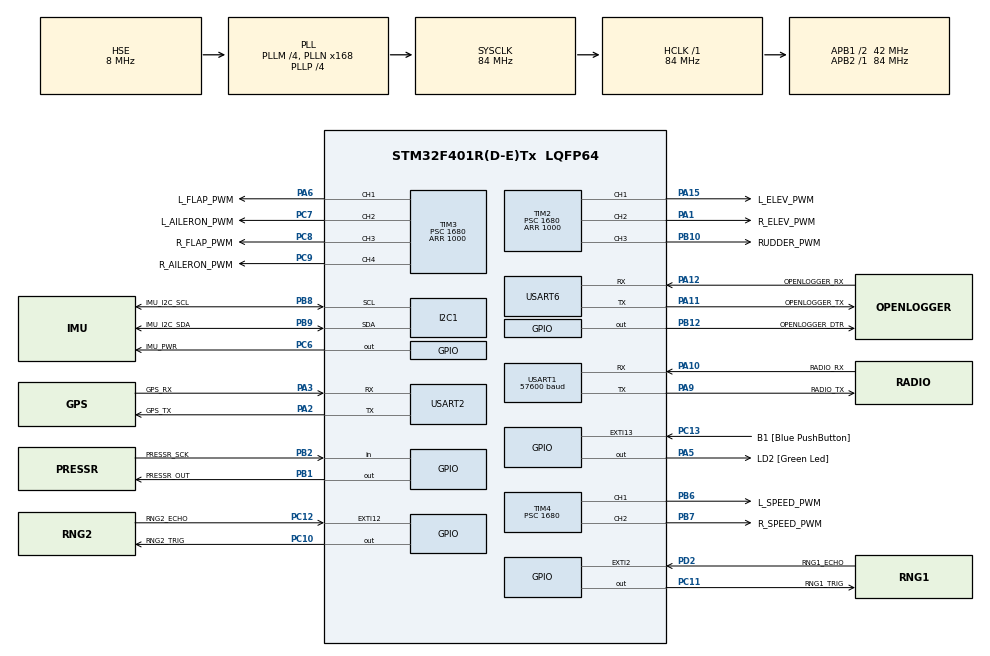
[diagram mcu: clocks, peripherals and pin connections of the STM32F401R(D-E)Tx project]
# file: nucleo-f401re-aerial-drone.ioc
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ARM.CMSIS.5.7.0.CMSISJjCORE=true
ARM.CMSIS.5.7.0.CMSISJjDSP=Library
FREERTOS.Queues01=actCmds,16,actuator_t,0,Dynamic,NULL,NULL;pressrToLog,16,sens_pressr_t,0,Dynamic,NULL,NULL;pressrToSend,16,sens_pressr_t,0,Dynamic,NULL,NULL;rng1ToLog,16,sens_rng_t,0,Dynamic,NULL,NULL;rng1ToSend,16,sens_rng_t,0,Dynamic,NULL,NULL;rng2ToLog,16,sens_rng_t,0,Dynamic,NULL,NULL;rng2ToSend,16,sens_rng_t,0,Dynamic,NULL,NULL;actCmdsToLog,16,actuator_t,0,Dynamic,NULL,NULL;imuToLog,16,sens_imu_t,0,Dynamic,NULL,NULL;imuToSend,16,sens_imu_t,0,Dynamic,NULL,NULL
FREERTOS.Tasks01=blink,8,128,StartBlink,Default,NULL,Dynamic,NULL,NULL;readPressrSens,24,512,ReadPressureSensor,As weak,NULL,Dynamic,NULL,NULL;writeLogger,24,512,WriteLogger,As weak,NULL,Dynamic,NULL,NULL;radioManager,40,512,RadioManager,As weak,NULL,Dynamic,NULL,NULL;readMag,24,512,ReadMag,As weak,NULL,Dynamic,NULL,NULL;readInertial,24,512,ReadInertial,As weak,NULL,Dynamic,NULL,NULL;readRngs,24,512,ReadRngs,As weak,NULL,Dynamic,NULL,NULL;cntrlActuators,32,512,ControlActuators,As weak,NULL,Dynamic,NULL,NULL
FREERTOS.configCHECK_FOR_STACK_OVERFLOW=0
FREERTOS.configENABLE_FPU=1
FREERTOS.configTOTAL_HEAP_SIZE=19600
FREERTOS.configUSE_NEWLIB_REENTRANT=1
Mcu.Family=STM32F4
Mcu.Name=STM32F401R(D-E)Tx
Mcu.Package=LQFP64
NVIC.EXTI15_10_IRQn=true\:5\:0\:false\:false\:true\:true\:true\:true\:true
NVIC.EXTI2_IRQn=true\:5\:0\:false\:false\:true\:true\:true\:true\:true
NVIC.PriorityGroup=NVIC_PRIORITYGROUP_4
NVIC.TIM1_UP_TIM10_IRQn=true\:15\:0\:false\:false\:true\:false\:false\:true\:true
NVIC.TimeBase=TIM1_UP_TIM10_IRQn
NVIC.TimeBaseIP=TIM1
NVIC.USART1_IRQn=true\:5\:0\:false\:false\:true\:true\:true\:true\:true
PA1.GPIO_Label=R_ELEV_PWM
PA1.Signal=S_TIM2_CH2
PA10.GPIO_Label=RADIO_RX
PA10.Mode=Asynchronous
PA10.Signal=USART1_RX
PA11.GPIO_Label=OPENLOGGER_TX
PA11.Mode=Asynchronous
PA11.Signal=USART6_TX
PA12.GPIO_Label=OPENLOGGER_RX
PA12.Mode=Asynchronous
PA12.Signal=USART6_RX
PA13.GPIO_Label=TMS
PA13.Mode=Serial_Wire
PA13.Signal=SYS_JTMS-SWDIO
PA14.GPIO_Label=TCK
PA14.Mode=Serial_Wire
PA14.Signal=SYS_JTCK-SWCLK
PA15.GPIO_Label=L_ELEV_PWM
PA15.Signal=S_TIM2_CH1_ETR
PA2.GPIO_Label=GPS_TX
PA2.Mode=Asynchronous
PA2.Signal=USART2_TX
PA3.GPIO_Label=GPS_RX
PA3.Mode=Asynchronous
PA3.Signal=USART2_RX
PA5.GPIO_Label=LD2 [Green Led]
PA5.GPIO_Mode=GPIO_MODE_OUTPUT_PP
PA5.GPIO_PuPd=GPIO_NOPULL
PA5.GPIO_Speed=GPIO_SPEED_FREQ_LOW
PA5.Signal=GPIO_Output
PA6.GPIO_Label=L_FLAP_PWM
PA6.Signal=S_TIM3_CH1
PA9.GPIO_Label=RADIO_TX
PA9.Mode=Asynchronous
PA9.Signal=USART1_TX
PB1.GPIO_Label=PRESSR_OUT
PB1.Signal=GPIO_Output
PB10.GPIO_Label=RUDDER_PWM
PB10.Signal=S_TIM2_CH3
PB12.GPIO_Label=OPENLOGGER_DTR
PB12.Signal=GPIO_Output
PB2.GPIO_Label=PRESSR_SCK
PB2.Signal=GPIO_Input
PB3.Signal=SYS_JTDO-SWO
PB6.GPIO_Label=L_SPEED_PWM
PB6.Signal=S_TIM4_CH1
PB7.GPIO_Label=R_SPEED_PWM
PB7.Signal=S_TIM4_CH2
PB8.GPIO_Label=IMU_I2C_SCL
PB8.Mode=I2C
PB8.Signal=I2C1_SCL
PB9.GPIO_Label=IMU_I2C_SDA
PB9.Mode=I2C
PB9.Signal=I2C1_SDA
PC10.GPIO_Label=RNG2_TRIG
PC10.GPIO_Speed=GPIO_SPEED_FREQ_VERY_HIGH
PC10.Signal=GPIO_Output
PC11.GPIO_Label=RNG1_TRIG
PC11.GPIO_Speed=GPIO_SPEED_FREQ_VERY_HIGH
PC11.Signal=GPIO_Output
PC12.GPIO_Label=RNG2_ECHO
PC12.GPIO_ModeDefaultEXTI=GPIO_MODE_IT_RISING_FALLING
PC12.Signal=GPXTI12
PC13-ANTI_TAMP.GPIO_Label=B1 [Blue PushButton]
PC13-ANTI_TAMP.GPIO_ModeDefaultEXTI=GPIO_MODE_IT_FALLING
PC13-ANTI_TAMP.GPIO_PuPd=GPIO_NOPULL
PC13-ANTI_TAMP.Signal=GPXTI13
PC14-OSC32_IN.Mode=LSE-External-Oscillator
PC14-OSC32_IN.Signal=RCC_OSC32_IN
PC15-OSC32_OUT.Mode=LSE-External-Oscillator
PC15-OSC32_OUT.Signal=RCC_OSC32_OUT
PC6.GPIO_Label=IMU_PWR
PC6.Signal=GPIO_Output
PC7.GPIO_Label=L_AILERON_PWM
PC7.Signal=S_TIM3_CH2
PC8.GPIO_Label=R_FLAP_PWM
PC8.Signal=S_TIM3_CH3
PC9.GPIO_Label=R_AILERON_PWM
PC9.Signal=S_TIM3_CH4
PD2.GPIO_Label=RNG1_ECHO
PD2.GPIO_ModeDefaultEXTI=GPIO_MODE_IT_RISING_FALLING
PD2.Signal=GPXTI2
PH0\ -\ OSC_IN.Mode=HSE-External-Clock-Source
PH0\ -\ OSC_IN.Signal=RCC_OSC_IN
PH1\ -\ OSC_OUT.Mode=HSE-External-Clock-Source
PH1\ -\ OSC_OUT.Signal=RCC_OSC_OUT
ProjectManager.HeapSize=0x200
ProjectManager.StackSize=0x400
ProjectManager.TargetToolchain=STM32CubeIDE
RCC.48MHZClocksFreq_Value=48000000
RCC.AHBFreq_Value=84000000
RCC.APB1CLKDivider=RCC_HCLK_DIV2
RCC.APB1Freq_Value=42000000
RCC.APB1TimFreq_Value=84000000
RCC.APB2Freq_Value=84000000
RCC.APB2TimFreq_Value=84000000
RCC.CortexFreq_Value=84000000
RCC.HCLKFreq_Value=84000000
RCC.HSE_VALUE=8000000
RCC.HSI_VALUE=16000000
RCC.PLLM=4
RCC.PLLN=168
RCC.PLLP=RCC_PLLP_DIV4
RCC.PLLQ=7
RCC.PLLSourceVirtual=RCC_PLLSOURCE_HSE
RCC.SYSCLKFreq_VALUE=84000000
RCC.SYSCLKSource=RCC_SYSCLKSOURCE_PLLCLK
RCC.VCOOutputFreq_Value=336000000
SH.S_TIM2_CH1_ETR.0=TIM2_CH1,PWM Generation1 CH1
SH.S_TIM2_CH2.0=TIM2_CH2,PWM Generation2 CH2
SH.S_TIM2_CH3.0=TIM2_CH3,PWM Generation3 CH3
SH.S_TIM3_CH1.0=TIM3_CH1,PWM Generation1 CH1
SH.S_TIM3_CH2.0=TIM3_CH2,PWM Generation2 CH2
SH.S_TIM3_CH3.0=TIM3_CH3,PWM Generation3 CH3
SH.S_TIM3_CH4.0=TIM3_CH4,PWM Generation4 CH4
SH.S_TIM4_CH1.0=TIM4_CH1,PWM Generation1 CH1
SH.S_TIM4_CH2.0=TIM4_CH2,PWM Generation2 CH2
TIM10.ClockDivision=TIM_CLOCKDIVISION_DIV1
TIM10.Prescaler=84-1
TIM11.Prescaler=84-1
TIM2.Channel-PWM\ Generation1\ CH1=TIM_CHANNEL_1
TIM2.Channel-PWM\ Generation2\ CH2=TIM_CHANNEL_2
TIM2.Channel-PWM\ Generation3\ CH3=TIM_CHANNEL_3
TIM2.Period=1000
TIM2.Prescaler=1680
TIM3.Channel-PWM\ Generation1\ CH1=TIM_CHANNEL_1
TIM3.Channel-PWM\ Generation2\ CH2=TIM_CHANNEL_2
TIM3.Channel-PWM\ Generation3\ CH3=TIM_CHANNEL_3
TIM3.Channel-PWM\ Generation4\ CH4=TIM_CHANNEL_4
TIM3.ClockDivision=TIM_CLOCKDIVISION_DIV1
TIM3.Period=1000
TIM3.Prescaler=1680
TIM4.Channel-PWM\ Generation1\ CH1=TIM_CHANNEL_1
TIM4.Channel-PWM\ Generation2\ CH2=TIM_CHANNEL_2
TIM4.ClockDivision=TIM_CLOCKDIVISION_DIV1
TIM4.Period=1000
TIM4.Prescaler=1680
TIM9.Prescaler=84-1
USART1.BaudRate=57600
USART1.VirtualMode=VM_ASYNC
USART2.VirtualMode=VM_ASYNC
USART6.VirtualMode=VM_ASYNC
VP_ARM.CMSIS_VS_CMSISJjCORE_5.4.0_5.7.0.Mode=CMSISJjCORE
VP_ARM.CMSIS_VS_CMSISJjDSP_1.8.0_5.7.0.Mode=CMSISJjDSP
VP_FREERTOS_VS_CMSIS_V2.Mode=CMSIS_V2
VP_SYS_VS_tim1.Mode=TIM1
VP_TIM10_VS_ClockSourceINT.Mode=Enable_Timer
VP_TIM11_VS_ClockSourceINT.Mode=Enable_Timer
VP_TIM2_VS_ClockSourceINT.Mode=Internal
VP_TIM3_VS_ClockSourceINT.Mode=Internal
VP_TIM4_VS_ClockSourceINT.Mode=Internal
VP_TIM9_VS_ClockSourceINT.Mode=Internal
board=NUCLEO-F401RE

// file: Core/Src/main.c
/* USER CODE BEGIN Header */
/**
  ******************************************************************************
  * @file           : main.c
  * @brief          : Main program body
  ******************************************************************************
  * @attention
  *
  * Copyright (c) 2023 STMicroelectronics.
  * All rights reserved.
  *
  * This software is licensed under terms that can be found in the LICENSE file
  * in the root directory of this software component.
  * If no LICENSE file comes with this software, it is provided AS-IS.
  *
  ******************************************************************************
  */
/* USER CODE END Header */
#include "main.h"
#include "cmsis_os.h"
#include "i2c.h"
#include "tim.h"
#include "usart.h"
#include "gpio.h"

/* USER CODE BEGIN Includes */
#include "printf/printf.h"
/* USER CODE END Includes */

void SystemClock_Config(void);
void MX_FREERTOS_Init(void);
/* USER CODE BEGIN PFP */

//int _write(int file, char *ptr, int len){
//    osKernelLock();
//	// Overrides _write so all printf commands are sent to the ITM debugging interface
//	int i = 0;
//	for (i=0; i < len; i++)
//		ITM_SendChar((*ptr++));
//	osKernelUnlock();
//	return len;
//}

//void putchar_(char ch){
//    // Allows use of printf with debugger
//    // ITM_SendChar(ch);
//}

/* USER CODE END PFP */

/* USER CODE BEGIN 0 */

void _putchar(char ch){
    uint32_t c = *(uint8_t*)&ch;
    ITM_SendChar(c);
}

/* USER CODE END 0 */

int main(void)
{

  /* MCU Configuration--------------------------------------------------------*/

  /* Reset of all peripherals, Initializes the Flash interface and the Systick. */
  HAL_Init();

  /* Configure the system clock */
  SystemClock_Config();

  /* Initialize all configured peripherals */
  MX_GPIO_Init();
  MX_TIM10_Init();
  MX_USART1_UART_Init();
  MX_I2C1_Init();
  MX_USART2_UART_Init();
  MX_USART6_UART_Init();
  MX_TIM11_Init();
  MX_TIM9_Init();
  MX_TIM3_Init();
  MX_TIM2_Init();
  MX_TIM4_Init();
  /* USER CODE BEGIN 2 */

  // Timers used in reading sensors
  HAL_TIM_Base_Start(&htim9);
  HAL_TIM_Base_Start(&htim10);
  HAL_TIM_Base_Start(&htim11);

  // Wing control surfaces
  HAL_TIM_PWM_Start(&htim3, TIM_CHANNEL_1);
  HAL_TIM_PWM_Start(&htim3, TIM_CHANNEL_2);
  HAL_TIM_PWM_Start(&htim3, TIM_CHANNEL_3);
  HAL_TIM_PWM_Start(&htim3, TIM_CHANNEL_4);

  // Tail control surfaces
  HAL_TIM_PWM_Start(&htim2, TIM_CHANNEL_1);
  HAL_TIM_PWM_Start(&htim2, TIM_CHANNEL_2);
  HAL_TIM_PWM_Start(&htim2, TIM_CHANNEL_3);

  // Electric speed controllers (ESCs)
  HAL_TIM_PWM_Start(&htim4, TIM_CHANNEL_1);
  HAL_TIM_PWM_Start(&htim4, TIM_CHANNEL_2);

  /* USER CODE END 2 */

  /* Init scheduler */
  osKernelInitialize();  /* Call init function for freertos objects (in freertos.c) */
  MX_FREERTOS_Init();

  /* Start scheduler */
  osKernelStart();

  /* We should never get here as control is now taken by the scheduler */
  /* Infinite loop */
  while (1)
  {

  }
}

void SystemClock_Config(void)
{
  RCC_OscInitTypeDef RCC_OscInitStruct = {0};
  RCC_ClkInitTypeDef RCC_ClkInitStruct = {0};

  /** Configure the main internal regulator output voltage
  */
  __HAL_RCC_PWR_CLK_ENABLE();
  __HAL_PWR_VOLTAGESCALING_CONFIG(PWR_REGULATOR_VOLTAGE_SCALE2);

  /** Initializes the RCC Oscillators according to the specified parameters
  * in the RCC_OscInitTypeDef structure.
  */
  RCC_OscInitStruct.OscillatorType = RCC_OSCILLATORTYPE_HSE;
  RCC_OscInitStruct.HSEState = RCC_HSE_BYPASS;
  RCC_OscInitStruct.PLL.PLLState = RCC_PLL_ON;
  RCC_OscInitStruct.PLL.PLLSource = RCC_PLLSOURCE_HSE;
  RCC_OscInitStruct.PLL.PLLM = 4;
  RCC_OscInitStruct.PLL.PLLN = 168;
  RCC_OscInitStruct.PLL.PLLP = RCC_PLLP_DIV4;
  RCC_OscInitStruct.PLL.PLLQ = 7;
  if (HAL_RCC_OscConfig(&RCC_OscInitStruct) != HAL_OK)
  {
    Error_Handler();
  }

  /** Initializes the CPU, AHB and APB buses clocks
  */
  RCC_ClkInitStruct.ClockType = RCC_CLOCKTYPE_HCLK|RCC_CLOCKTYPE_SYSCLK
                              |RCC_CLOCKTYPE_PCLK1|RCC_CLOCKTYPE_PCLK2;
  RCC_ClkInitStruct.SYSCLKSource = RCC_SYSCLKSOURCE_PLLCLK;
  RCC_ClkInitStruct.AHBCLKDivider = RCC_SYSCLK_DIV1;
  RCC_ClkInitStruct.APB1CLKDivider = RCC_HCLK_DIV2;
  RCC_ClkInitStruct.APB2CLKDivider = RCC_HCLK_DIV1;

  if (HAL_RCC_ClockConfig(&RCC_ClkInitStruct, FLASH_LATENCY_2) != HAL_OK)
  {
    Error_Handler();
  }
}

void HAL_TIM_PeriodElapsedCallback(TIM_HandleTypeDef *htim)
{
  if (htim->Instance == TIM1) {
    HAL_IncTick();
  }
}

void Error_Handler(void)
{
  __disable_irq();
  while (1)
  {
  }
}

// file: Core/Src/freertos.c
/* USER CODE BEGIN Header */
/**
  ******************************************************************************
  * File Name          : freertos.c
  * Description        : Code for freertos applications
  ******************************************************************************
  * @attention
  *
  * Copyright (c) 2023 STMicroelectronics.
  * All rights reserved.
  *
  * This software is licensed under terms that can be found in the LICENSE file
  * in the root directory of this software component.
  * If no LICENSE file comes with this software, it is provided AS-IS.
  *
  ******************************************************************************
  */
/* USER CODE END Header */

#include "FreeRTOS.h"
#include "task.h"
#include "main.h"
#include "cmsis_os.h"

/* USER CODE BEGIN Includes */
#include "comms_types.h"
#include "sens_types.h"
#include "printf/printf.h"
/* USER CODE END Includes */

/* Definitions for blink */
osThreadId_t blinkHandle;
const osThreadAttr_t blink_attributes = {
  .name = "blink",
  .stack_size = 128 * 4,
  .priority = (osPriority_t) osPriorityLow,
};
/* Definitions for readPressrSens */
osThreadId_t readPressrSensHandle;
const osThreadAttr_t readPressrSens_attributes = {
  .name = "readPressrSens",
  .stack_size = 512 * 4,
  .priority = (osPriority_t) osPriorityNormal,
};
/* Definitions for writeLogger */
osThreadId_t writeLoggerHandle;
const osThreadAttr_t writeLogger_attributes = {
  .name = "writeLogger",
  .stack_size = 512 * 4,
  .priority = (osPriority_t) osPriorityNormal,
};
/* Definitions for radioManager */
osThreadId_t radioManagerHandle;
const osThreadAttr_t radioManager_attributes = {
  .name = "radioManager",
  .stack_size = 512 * 4,
  .priority = (osPriority_t) osPriorityHigh,
};
/* Definitions for readMag */
osThreadId_t readMagHandle;
const osThreadAttr_t readMag_attributes = {
  .name = "readMag",
  .stack_size = 512 * 4,
  .priority = (osPriority_t) osPriorityNormal,
};
/* Definitions for readInertial */
osThreadId_t readInertialHandle;
const osThreadAttr_t readInertial_attributes = {
  .name = "readInertial",
  .stack_size = 512 * 4,
  .priority = (osPriority_t) osPriorityNormal,
};
/* Definitions for readRngs */
osThreadId_t readRngsHandle;
const osThreadAttr_t readRngs_attributes = {
  .name = "readRngs",
  .stack_size = 512 * 4,
  .priority = (osPriority_t) osPriorityNormal,
};
/* Definitions for cntrlActuators */
osThreadId_t cntrlActuatorsHandle;
const osThreadAttr_t cntrlActuators_attributes = {
  .name = "cntrlActuators",
  .stack_size = 512 * 4,
  .priority = (osPriority_t) osPriorityAboveNormal,
};
/* Definitions for actCmds */
osMessageQueueId_t actCmdsHandle;
const osMessageQueueAttr_t actCmds_attributes = {
  .name = "actCmds"
};
/* Definitions for pressrToLog */
osMessageQueueId_t pressrToLogHandle;
const osMessageQueueAttr_t pressrToLog_attributes = {
  .name = "pressrToLog"
};
/* Definitions for pressrToSend */
osMessageQueueId_t pressrToSendHandle;
const osMessageQueueAttr_t pressrToSend_attributes = {
  .name = "pressrToSend"
};
/* Definitions for rng1ToLog */
osMessageQueueId_t rng1ToLogHandle;
const osMessageQueueAttr_t rng1ToLog_attributes = {
  .name = "rng1ToLog"
};
/* Definitions for rng1ToSend */
osMessageQueueId_t rng1ToSendHandle;
const osMessageQueueAttr_t rng1ToSend_attributes = {
  .name = "rng1ToSend"
};
/* Definitions for rng2ToLog */
osMessageQueueId_t rng2ToLogHandle;
const osMessageQueueAttr_t rng2ToLog_attributes = {
  .name = "rng2ToLog"
};
/* Definitions for rng2ToSend */
osMessageQueueId_t rng2ToSendHandle;
const osMessageQueueAttr_t rng2ToSend_attributes = {
  .name = "rng2ToSend"
};
/* Definitions for actCmdsToLog */
osMessageQueueId_t actCmdsToLogHandle;
const osMessageQueueAttr_t actCmdsToLog_attributes = {
  .name = "actCmdsToLog"
};
/* Definitions for imuToLog */
osMessageQueueId_t imuToLogHandle;
const osMessageQueueAttr_t imuToLog_attributes = {
  .name = "imuToLog"
};
/* Definitions for imuToSend */
osMessageQueueId_t imuToSendHandle;
const osMessageQueueAttr_t imuToSend_attributes = {
  .name = "imuToSend"
};

void StartBlink(void *argument);
void ReadPressureSensor(void *argument);
void WriteLogger(void *argument);
void RadioManager(void *argument);
void ReadMag(void *argument);
void ReadInertial(void *argument);
void ReadRngs(void *argument);
void ControlActuators(void *argument);

void MX_FREERTOS_Init(void); /* (MISRA C 2004 rule 8.1) */

void MX_FREERTOS_Init(void) {

  /* Create the queue(s) */
  /* creation of actCmds */
  actCmdsHandle = osMessageQueueNew (16, sizeof(actuator_t), &actCmds_attributes);

  /* creation of pressrToLog */
  pressrToLogHandle = osMessageQueueNew (16, sizeof(sens_pressr_t), &pressrToLog_attributes);

  /* creation of pressrToSend */
  pressrToSendHandle = osMessageQueueNew (16, sizeof(sens_pressr_t), &pressrToSend_attributes);

  /* creation of rng1ToLog */
  rng1ToLogHandle = osMessageQueueNew (16, sizeof(sens_rng_t), &rng1ToLog_attributes);

  /* creation of rng1ToSend */
  rng1ToSendHandle = osMessageQueueNew (16, sizeof(sens_rng_t), &rng1ToSend_attributes);

  /* creation of rng2ToLog */
  rng2ToLogHandle = osMessageQueueNew (16, sizeof(sens_rng_t), &rng2ToLog_attributes);

  /* creation of rng2ToSend */
  rng2ToSendHandle = osMessageQueueNew (16, sizeof(sens_rng_t), &rng2ToSend_attributes);

  /* creation of actCmdsToLog */
  actCmdsToLogHandle = osMessageQueueNew (16, sizeof(actuator_t), &actCmdsToLog_attributes);

  /* creation of imuToLog */
  imuToLogHandle = osMessageQueueNew (16, sizeof(sens_imu_t), &imuToLog_attributes);

  /* creation of imuToSend */
  imuToSendHandle = osMessageQueueNew (16, sizeof(sens_imu_t), &imuToSend_attributes);

  /* Create the thread(s) */
  /* creation of blink */
  blinkHandle = osThreadNew(StartBlink, NULL, &blink_attributes);

  /* creation of readPressrSens */
  readPressrSensHandle = osThreadNew(ReadPressureSensor, NULL, &readPressrSens_attributes);

  /* creation of writeLogger */
  writeLoggerHandle = osThreadNew(WriteLogger, NULL, &writeLogger_attributes);

  /* creation of radioManager */
  radioManagerHandle = osThreadNew(RadioManager, NULL, &radioManager_attributes);

  /* creation of readMag */
  readMagHandle = osThreadNew(ReadMag, NULL, &readMag_attributes);

  /* creation of readInertial */
  readInertialHandle = osThreadNew(ReadInertial, NULL, &readInertial_attributes);

  /* creation of readRngs */
  readRngsHandle = osThreadNew(ReadRngs, NULL, &readRngs_attributes);

  /* creation of cntrlActuators */
  cntrlActuatorsHandle = osThreadNew(ControlActuators, NULL, &cntrlActuators_attributes);

}

void StartBlink(void *argument)
{
  /* USER CODE BEGIN StartBlink */
  /* Infinite loop */
  for(;;)
  {
      HAL_GPIO_TogglePin(LD2_GPIO_Port, LD2_Pin);
      osDelay(250);
  }
  /* USER CODE END StartBlink */
}

__weak void ReadPressureSensor(void *argument)
{
  for(;;)
  {
    osDelay(1);
  }
}

__weak void WriteLogger(void *argument)
{
  for(;;)
  {
    osDelay(1);
  }
}

__weak void RadioManager(void *argument)
{
  for(;;)
  {
    osDelay(1);
  }
}

__weak void ReadMag(void *argument)
{
  for(;;)
  {
    osDelay(1);
  }
}

__weak void ReadInertial(void *argument)
{
  for(;;)
  {
    osDelay(1);
  }
}

__weak void ReadRngs(void *argument)
{
  for(;;)
  {
    osDelay(1);
  }
}

__weak void ControlActuators(void *argument)
{
  for(;;)
  {
    osDelay(1);
  }
}
